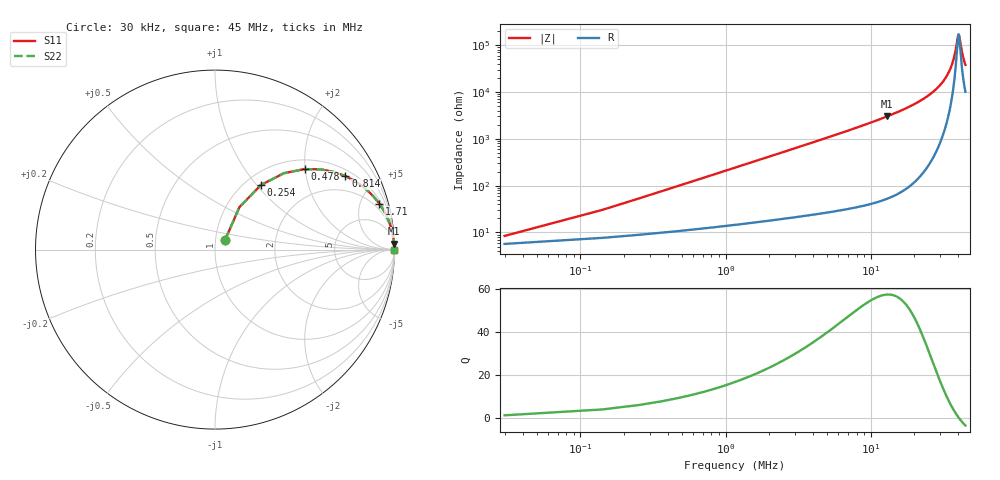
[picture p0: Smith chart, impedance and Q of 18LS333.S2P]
! Coilcraft 1812LS-333 Chip Inductor
! 8 August 2002
# MHZ S MA R 50
!Freq  MagS11  AngS11  MagS21  AngS21  MagS12  AngS12  MagS22  AngS22
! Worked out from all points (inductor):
!   403 points, 30 kHz to 45 MHz, reference 50 ohm
!   read as one part in series: L = 33 uH near 254 kHz
!   highest Q = 57.4 at 13.02 MHz (marker M1), where L = 36.8 uH
!   self-resonance near 40.35 MHz
!   S11 on the Smith chart (normalised r, x): 30 kHz: 1.11, +0.12; 254 kHz: 1.18, +1.05; 478 kHz: 1.21, +1.98; 814 kHz: 1.26, +3.38; 1.71 MHz: 1.34, +7.10; 45 MHz: open
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0.03  0.0796 44.2  0.9446 -3.4  0.9446 -3.4  0.0796 44.2
0.254  0.4416 54.6  0.8266 -25.8  0.8266 -25.8  0.4416 54.6
0.366  0.5731 47.9  0.7488 -34.6  0.7488 -34.6  0.5731 47.9
0.478  0.6709 42.0  0.6729 -41.8  0.6729 -41.8  0.6709 42.0
0.814  0.8339 29.4  0.4925 -56.3  0.4925 -56.3  0.8339 29.4
1.15  0.9033 22.2  0.3778 -64.4  0.3778 -64.4  0.9033 22.2
1.71  0.951 15.5  0.2675 -71.8  0.2675 -71.8  0.951 15.5
2.718  0.9788 9.9  0.1728 -78.0  0.1728 -78.0  0.9788 9.9
3.95  0.9894 6.9  0.1196 -81.5  0.1196 -81.5  0.9894 6.9
7.534  0.9968 3.5  0.06158 -85.3  0.06158 -85.3  0.9968 3.5
13.022  0.9989 1.9  0.03315 -87.1  0.03315 -87.1  0.9989 1.9
15.038  0.9991 1.6  0.02761 -87.4  0.02761 -87.4  0.9991 1.6
22.542  0.9995 0.8  0.01474 -87.7  0.01474 -87.7  0.9995 0.8
30.046  0.9996 0.4  0.007195 -86.3  0.007195 -86.3  0.9996 0.4
34.526  0.9995 0.2  0.003814 -82.6  0.003814 -82.6  0.9995 0.2
37.55  0.9995 0.1  0.001849 -73.1  0.001849 -73.1  0.9995 0.1
38.558  0.9994 0.1  0.001266 -64.1  0.001266 -64.1  0.9994 0.1
39.902  0.9994 0.0  0.000664 -29.1  0.000664 -29.1  0.9994 0.0
40.462  0.9994 -0.0  0.0005921 0.8  0.0005921 0.8  0.9994 -0.0
40.91  0.9994 -0.0  0.0006599 24.2  0.0006599 24.2  0.9994 -0.0
43.038  0.9993 -0.1  0.001614 66.2  0.001614 66.2  0.9993 -0.1
45  0.9993 -0.1  0.002635 74.5  0.002635 74.5  0.9993 -0.1
